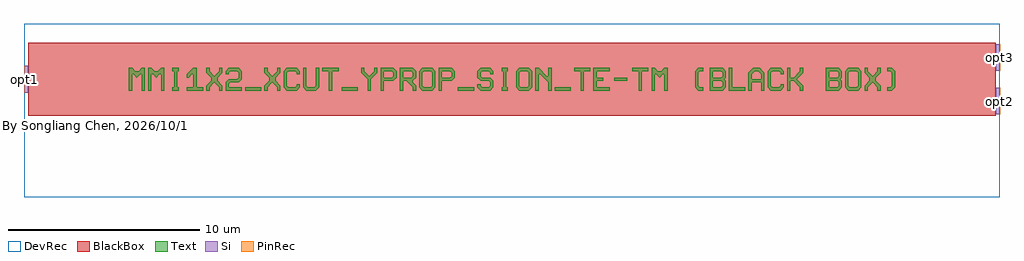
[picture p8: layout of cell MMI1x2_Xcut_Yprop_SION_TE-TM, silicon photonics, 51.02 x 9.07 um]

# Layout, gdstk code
import gdstk
lib = gdstk.Library(unit=1e-6, precision=1e-10)
def R(c, l, rs):  # rectangles x0, y0, x1, y1
    for r in rs: c.add(gdstk.rectangle(r[:2], r[2:], *l))
def P(c, l, *ps):  # polygons
    for p in ps: c.add(gdstk.Polygon(p, *l))
Si = (1, 0)
PinRec = (1, 10)
Text = (10, 0)
DevRec = (68, 0)
BlackBox = (998, 0)

text_19 = lib.new_cell('TEXT$19')
R(text_19, Text, [(6.072,0,6.915,0.169), (11.132,0,11.975,0.169), (17.204,0,18.047,0.169), (22.264,0,23.107,0.169), (25.384,0.506,26.059,0.675)])
P(text_19, Text, [(0,0),(0,1.181),(0.169,1.181),(0.337,1.012),(0.506,1.012),(0.675,1.181),(0.843,1.181),(0.843,0),(0.675,0),(0.675,0.843),(0.59,0.843),(0.422,0.675),(0.253,0.843),(0.169,0.843),(0.169,0)],
  [(1.012,0),(1.012,1.181),(1.181,1.181),(1.349,1.012),(1.518,1.012),(1.687,1.181),(1.855,1.181),(1.855,0),(1.687,0),(1.687,0.843),(1.602,0.843),(1.434,0.675),(1.265,0.843),(1.181,0.843),(1.181,0)],
  [(2.277,0),(2.277,0.169),(2.361,0.169),(2.361,1.012),(2.277,1.012),(2.277,1.181),(2.614,1.181),(2.614,1.012),(2.53,1.012),(2.53,0.169),(2.614,0.169),(2.614,0)],
  [(3.036,0),(3.036,0.169),(3.373,0.169),(3.373,0.843),(3.289,0.843),(3.12,0.675),(3.036,0.675),(3.036,0.843),(3.373,1.181),(3.542,1.181),(3.542,0.169),(3.879,0.169),(3.879,0)],
  [(4.048,0),(4.048,0.253),(4.301,0.506),(4.301,0.675),(4.048,0.928),(4.048,1.181),(4.217,1.181),(4.217,1.012),(4.47,0.759),(4.723,1.012),(4.723,1.181),(4.891,1.181),(4.891,0.928),(4.638,0.675),(4.638,0.506),(4.891,0.253),(4.891,0),(4.723,0),(4.723,0.169),(4.47,0.422),(4.217,0.169),(4.217,0)],
  [(5.06,0),(5.06,0.422),(5.229,0.59),(5.65,0.59),(5.735,0.675),(5.735,0.928),(5.65,1.012),(5.313,1.012),(5.229,0.928),(5.229,0.843),(5.06,0.843),(5.06,1.012),(5.229,1.181),(5.735,1.181),(5.903,1.012),(5.903,0.59),(5.735,0.422),(5.313,0.422),(5.229,0.337),(5.229,0.169),(5.903,0.169),(5.903,0)],
  [(7.084,0),(7.084,0.253),(7.337,0.506),(7.337,0.675),(7.084,0.928),(7.084,1.181),(7.253,1.181),(7.253,1.012),(7.506,0.759),(7.759,1.012),(7.759,1.181),(7.927,1.181),(7.927,0.928),(7.674,0.675),(7.674,0.506),(7.927,0.253),(7.927,0),(7.759,0),(7.759,0.169),(7.506,0.422),(7.253,0.169),(7.253,0)],
  [(8.265,0),(8.096,0.169),(8.096,1.012),(8.265,1.181),(8.771,1.181),(8.939,1.012),(8.939,0.843),(8.771,0.843),(8.771,0.928),(8.686,1.012),(8.349,1.012),(8.265,0.928),(8.265,0.253),(8.349,0.169),(8.686,0.169),(8.771,0.253),(8.771,0.337),(8.939,0.337),(8.939,0.169),(8.771,0)],
  [(9.277,0),(9.108,0.169),(9.108,1.181),(9.277,1.181),(9.277,0.253),(9.361,0.169),(9.698,0.169),(9.783,0.253),(9.783,1.181),(9.951,1.181),(9.951,0.169),(9.783,0)],
  [(10.457,0),(10.457,1.012),(10.12,1.012),(10.12,1.181),(10.963,1.181),(10.963,1.012),(10.626,1.012),(10.626,0)],
  [(12.481,0),(12.481,0.59),(12.144,0.928),(12.144,1.181),(12.313,1.181),(12.313,1.012),(12.566,0.759),(12.819,1.012),(12.819,1.181),(12.987,1.181),(12.987,0.928),(12.65,0.59),(12.65,0)],
  [(13.156,0),(13.156,1.181),(13.831,1.181),(13.999,1.012),(13.999,0.675),(13.831,0.506),(13.325,0.506),(13.325,0.675),(13.746,0.675),(13.831,0.759),(13.831,0.928),(13.746,1.012),(13.325,1.012),(13.325,0)],
  [(14.168,0),(14.168,1.181),(14.843,1.181),(15.011,1.012),(14.337,1.012),(14.337,0.675),(14.758,0.675),(14.843,0.759),(14.843,0.928),(14.758,1.012),(15.011,1.012),(15.011,0.675),(14.843,0.506),(14.843,0.422),(15.011,0.253),(15.011,0),(14.843,0),(14.843,0.169),(14.505,0.506),(14.337,0.506),(14.337,0)],
  [(15.349,0),(15.18,0.169),(15.18,1.012),(15.349,1.181),(15.855,1.181),(16.023,1.012),(16.023,0.59),(15.855,0.59),(15.855,0.928),(15.77,1.012),(15.433,1.012),(15.349,0.928),(15.349,0.253),(15.433,0.169),(15.77,0.169),(15.855,0.253),(15.855,0.59),(16.023,0.59),(16.023,0.169),(15.855,0)],
  [(16.192,0),(16.192,1.181),(16.867,1.181),(17.035,1.012),(17.035,0.675),(16.867,0.506),(16.361,0.506),(16.361,0.675),(16.782,0.675),(16.867,0.759),(16.867,0.928),(16.782,1.012),(16.361,1.012),(16.361,0)],
  [(18.385,0),(18.216,0.169),(18.216,0.337),(18.385,0.337),(18.385,0.253),(18.469,0.169),(18.806,0.169),(18.891,0.253),(18.891,0.422),(18.806,0.506),(18.385,0.506),(18.216,0.675),(18.216,1.012),(18.385,1.181),(18.891,1.181),(19.059,1.012),(19.059,0.843),(18.891,0.843),(18.891,0.928),(18.806,1.012),(18.469,1.012),(18.385,0.928),(18.385,0.759),(18.469,0.675),(18.891,0.675),(19.059,0.506),(19.059,0.169),(18.891,0)],
  [(19.481,0),(19.481,0.169),(19.565,0.169),(19.565,1.012),(19.481,1.012),(19.481,1.181),(19.818,1.181),(19.818,1.012),(19.734,1.012),(19.734,0.169),(19.818,0.169),(19.818,0)],
  [(20.409,0),(20.24,0.169),(20.24,1.012),(20.409,1.181),(20.915,1.181),(21.083,1.012),(21.083,0.59),(20.915,0.59),(20.915,0.928),(20.83,1.012),(20.493,1.012),(20.409,0.928),(20.409,0.253),(20.493,0.169),(20.83,0.169),(20.915,0.253),(20.915,0.59),(21.083,0.59),(21.083,0.169),(20.915,0)],
  [(21.252,0),(21.252,1.181),(21.421,1.181),(21.842,0.759),(21.927,0.759),(21.927,1.181),(22.095,1.181),(22.095,0),(21.927,0),(21.927,0.422),(21.505,0.843),(21.421,0.843),(21.421,0)],
  [(23.613,0),(23.613,1.012),(23.276,1.012),(23.276,1.181),(24.119,1.181),(24.119,1.012),(23.782,1.012),(23.782,0)],
  [(24.288,0),(24.288,1.181),(25.131,1.181),(25.131,1.012),(24.457,1.012),(24.457,0.675),(24.794,0.675),(24.794,0.506),(24.457,0.506),(24.457,0.169),(25.131,0.169),(25.131,0)],
  [(26.649,0),(26.649,1.012),(26.312,1.012),(26.312,1.181),(27.155,1.181),(27.155,1.012),(26.818,1.012),(26.818,0)],
  [(27.324,0),(27.324,1.181),(27.493,1.181),(27.661,1.012),(27.83,1.012),(27.999,1.181),(28.167,1.181),(28.167,0),(27.999,0),(27.999,0.843),(27.914,0.843),(27.746,0.675),(27.577,0.843),(27.493,0.843),(27.493,0)],
  [(29.77,0),(29.601,0.169),(29.601,1.012),(29.77,1.181),(30.023,1.181),(30.023,1.012),(29.854,1.012),(29.77,0.928),(29.77,0.253),(29.854,0.169),(30.023,0.169),(30.023,0)],
  [(30.36,0),(30.36,1.181),(31.035,1.181),(31.203,1.012),(30.529,1.012),(30.529,0.675),(30.95,0.675),(31.035,0.759),(31.035,0.928),(30.95,1.012),(31.203,1.012),(31.203,0.675),(31.119,0.59),(31.203,0.506),(30.529,0.506),(30.529,0.169),(30.95,0.169),(31.035,0.253),(31.035,0.422),(30.95,0.506),(31.203,0.506),(31.203,0.169),(31.035,0)],
  [(31.372,0),(31.372,1.181),(31.541,1.181),(31.541,0.169),(32.215,0.169),(32.215,0)],
  [(32.384,0),(32.384,0.928),(32.637,1.181),(32.974,1.181),(33.143,1.012),(32.721,1.012),(32.553,0.843),(32.553,0.59),(33.059,0.59),(33.059,0.843),(32.89,1.012),(33.143,1.012),(33.227,0.928),(33.227,0),(33.059,0),(33.059,0.422),(32.553,0.422),(32.553,0)],
  [(33.565,0),(33.396,0.169),(33.396,1.012),(33.565,1.181),(34.071,1.181),(34.239,1.012),(34.239,0.843),(34.071,0.843),(34.071,0.928),(33.986,1.012),(33.649,1.012),(33.565,0.928),(33.565,0.253),(33.649,0.169),(33.986,0.169),(34.071,0.253),(34.071,0.337),(34.239,0.337),(34.239,0.169),(34.071,0)],
  [(34.408,0),(34.408,1.181),(34.577,1.181),(34.577,0.675),(34.745,0.675),(35.083,1.012),(35.083,1.181),(35.251,1.181),(35.251,0.928),(34.914,0.59),(35.251,0.253),(35.251,0),(35.083,0),(35.083,0.169),(34.745,0.506),(34.577,0.506),(34.577,0)],
  [(36.432,0),(36.432,1.181),(37.107,1.181),(37.275,1.012),(36.601,1.012),(36.601,0.675),(37.022,0.675),(37.107,0.759),(37.107,0.928),(37.022,1.012),(37.275,1.012),(37.275,0.675),(37.191,0.59),(37.275,0.506),(36.601,0.506),(36.601,0.169),(37.022,0.169),(37.107,0.253),(37.107,0.422),(37.022,0.506),(37.275,0.506),(37.275,0.169),(37.107,0)],
  [(37.613,0),(37.444,0.169),(37.444,1.012),(37.613,1.181),(38.119,1.181),(38.287,1.012),(38.287,0.59),(38.119,0.59),(38.119,0.928),(38.034,1.012),(37.697,1.012),(37.613,0.928),(37.613,0.253),(37.697,0.169),(38.034,0.169),(38.119,0.253),(38.119,0.59),(38.287,0.59),(38.287,0.169),(38.119,0)],
  [(38.456,0),(38.456,0.253),(38.709,0.506),(38.709,0.675),(38.456,0.928),(38.456,1.181),(38.625,1.181),(38.625,1.012),(38.878,0.759),(39.131,1.012),(39.131,1.181),(39.299,1.181),(39.299,0.928),(39.046,0.675),(39.046,0.506),(39.299,0.253),(39.299,0),(39.131,0),(39.131,0.169),(38.878,0.422),(38.625,0.169),(38.625,0)],
  [(39.637,0),(39.637,0.169),(39.805,0.169),(39.89,0.253),(39.89,0.928),(39.805,1.012),(39.637,1.012),(39.637,1.181),(39.89,1.181),(40.058,1.012),(40.058,0.169),(39.89,0)])

mmi1x2_xcut_yprop_sion_t = lib.new_cell('MMI1x2_Xcut_Yprop_SION_TE-TM')
R(mmi1x2_xcut_yprop_sion_t, Si, [(25.3,-1.84,25.5,-0.44), (-25.5,-0.7,-25.3,0.7), (25.3,0.44,25.5,1.84)])
R(mmi1x2_xcut_yprop_sion_t, DevRec, [(-25.5,-6.1666,25.5,2.9)])
R(mmi1x2_xcut_yprop_sion_t, BlackBox, [(-25.3,-1.9,25.3,1.9)])
mmi1x2_xcut_yprop_sion_t.add(gdstk.FlexPath([(-25.49,0),(-25.51,0)], 1.4, ends="flush", simple_path=True, layer=1, datatype=10))  # PinRec
mmi1x2_xcut_yprop_sion_t.add(gdstk.FlexPath([(25.49,-1.14),(25.51,-1.14)], 1.4, ends="flush", simple_path=True, layer=1, datatype=10))  # PinRec
mmi1x2_xcut_yprop_sion_t.add(gdstk.FlexPath([(25.49,1.14),(25.51,1.14)], 1.4, ends="flush", simple_path=True, layer=1, datatype=10))  # PinRec
mmi1x2_xcut_yprop_sion_t.add(gdstk.Reference(text_19, (-20.029,-0.5905)))
mmi1x2_xcut_yprop_sion_t.add(gdstk.Label('By Songliang Chen, 2026/10/13', (-25,-2.4), layer=10, texttype=0))
mmi1x2_xcut_yprop_sion_t.add(gdstk.Label('opt1', (-25.5,0), layer=1, texttype=10))
mmi1x2_xcut_yprop_sion_t.add(gdstk.Label('opt2', (25.5,-1.14), layer=1, texttype=10))
mmi1x2_xcut_yprop_sion_t.add(gdstk.Label('opt3', (25.5,1.14), layer=1, texttype=10))

lib.write_gds('MMI1x2_Xcut_Yprop_SION_TE-TM.gds')
